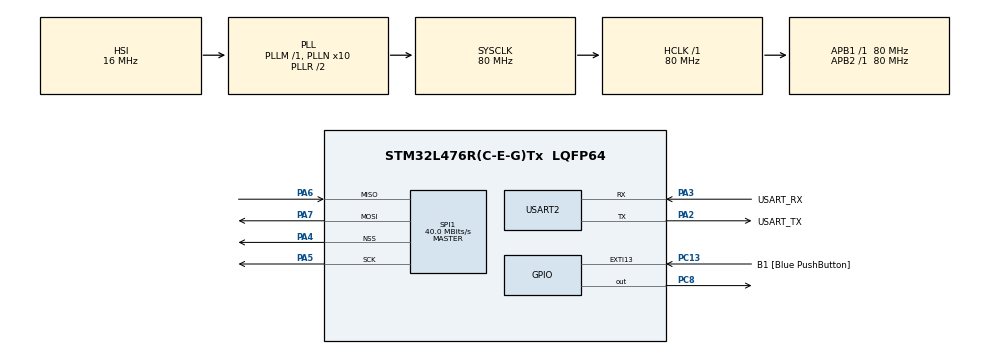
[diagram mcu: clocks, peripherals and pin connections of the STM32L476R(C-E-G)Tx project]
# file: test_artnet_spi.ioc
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Mcu.Family=STM32L4
Mcu.Name=STM32L476R(C-E-G)Tx
Mcu.Package=LQFP64
NVIC.PriorityGroup=NVIC_PRIORITYGROUP_4
PA13\ (JTMS-SWDIO).GPIO_Label=TMS
PA13\ (JTMS-SWDIO).Mode=Serial_Wire
PA13\ (JTMS-SWDIO).Signal=SYS_JTMS-SWDIO
PA14\ (JTCK-SWCLK).GPIO_Label=TCK
PA14\ (JTCK-SWCLK).Mode=Serial_Wire
PA14\ (JTCK-SWCLK).Signal=SYS_JTCK-SWCLK
PA2.GPIO_Label=USART_TX
PA2.GPIO_Mode=GPIO_MODE_AF_PP
PA2.GPIO_PuPd=GPIO_NOPULL
PA2.GPIO_Speed=GPIO_SPEED_FREQ_VERY_HIGH
PA2.Mode=Asynchronous
PA2.Signal=USART2_TX
PA3.GPIO_Label=USART_RX
PA3.GPIO_Mode=GPIO_MODE_AF_PP
PA3.GPIO_PuPd=GPIO_NOPULL
PA3.GPIO_Speed=GPIO_SPEED_FREQ_VERY_HIGH
PA3.Mode=Asynchronous
PA3.Signal=USART2_RX
PA4.Mode=NSS_Signal_Hard_Output
PA4.Signal=SPI1_NSS
PA5.Mode=Full_Duplex_Master
PA5.Signal=SPI1_SCK
PA6.Mode=Full_Duplex_Master
PA6.Signal=SPI1_MISO
PA7.Mode=Full_Duplex_Master
PA7.Signal=SPI1_MOSI
PB3\ (JTDO-TRACESWO).GPIO_Label=SWO
PB3\ (JTDO-TRACESWO).Signal=SYS_JTDO-SWO
PC13.GPIO_Label=B1 [Blue PushButton]
PC13.GPIO_ModeDefaultEXTI=GPIO_MODE_IT_FALLING
PC13.GPIO_PuPd=GPIO_NOPULL
PC13.Signal=GPXTI13
PC14-OSC32_IN\ (PC14).Mode=LSE-External-Oscillator
PC14-OSC32_IN\ (PC14).Signal=RCC_OSC32_IN
PC15-OSC32_OUT\ (PC15).Mode=LSE-External-Oscillator
PC15-OSC32_OUT\ (PC15).Signal=RCC_OSC32_OUT
PC8.Signal=GPIO_Output
PH0-OSC_IN\ (PH0).Signal=RCC_OSC_IN
PH1-OSC_OUT\ (PH1).Signal=RCC_OSC_OUT
ProjectManager.HeapSize=0x200
ProjectManager.StackSize=0x400
ProjectManager.TargetToolchain=STM32CubeIDE
RCC.ADCFreq_Value=64000000
RCC.AHBFreq_Value=80000000
RCC.APB1Freq_Value=80000000
RCC.APB1TimFreq_Value=80000000
RCC.APB2Freq_Value=80000000
RCC.APB2TimFreq_Value=80000000
RCC.CortexFreq_Value=80000000
RCC.HCLKFreq_Value=80000000
RCC.HSE_VALUE=8000000
RCC.HSI_VALUE=16000000
RCC.MSI_VALUE=4000000
RCC.PLLN=10
RCC.PLLSourceVirtual=RCC_PLLSOURCE_HSI
RCC.PREFETCH_ENABLE=1
RCC.SYSCLKFreq_VALUE=80000000
RCC.SYSCLKSource=RCC_SYSCLKSOURCE_PLLCLK
RCC.USBFreq_Value=64000000
RCC.VCOOutputFreq_Value=160000000
SPI1.CalculateBaudRate=40.0 MBits/s
SPI1.Direction=SPI_DIRECTION_2LINES
SPI1.Mode=SPI_MODE_MASTER
SPI1.VirtualNSS=VM_NSSHARD
SPI1.VirtualType=VM_MASTER
USART2.VirtualMode-Asynchronous=VM_ASYNC
board=NUCLEO-L476RG

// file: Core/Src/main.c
/* USER CODE BEGIN Header */
/**
 ******************************************************************************
 * @file           : main.c
 * @brief          : Main program body
 ******************************************************************************
 * @attention
 *
 * Copyright (c) 2025 STMicroelectronics.
 * All rights reserved.
 *
 * This software is licensed under terms that can be found in the LICENSE file
 * in the root directory of this software component.
 * If no LICENSE file comes with this software, it is provided AS-IS.
 *
 ******************************************************************************
 */
/* USER CODE END Header */
#include "main.h"
#include "spi.h"
#include "usart.h"
#include "gpio.h"

/* USER CODE BEGIN Includes */
#include "w5500/wizchip_conf.h"
#include "w5500/w5500_spi.h"
#include "w5500/w5500_phy.h"
#include "w5500/w5500_host_config.h"
#include "w5500/socket.h"
/* USER CODE END Includes */

/* USER CODE BEGIN PV */
wiz_NetInfo net_info = {
		.mac = {0x56, 0xC0, 0x70, 0xD2, 0x48, 0x10},  // Locally administered MAC address
		.ip = {192, 168, 56, 100},                    // IP address
		.sn = {255, 255, 255, 0},                     // Subnet mask
		.gw = {192, 168, 1, 1},                       // Gateway
		.dns = {8, 8, 8, 8},                          // DNS server
		.dhcp = NETINFO_STATIC                        // Use static IP
};

uint8_t spi_rx_buffer[10];
/* USER CODE END PV */

void SystemClock_Config(void);

/* USER CODE BEGIN 0 */
int __io_putchar(int chr)
{
	HAL_UART_Transmit(&huart2, (uint8_t *)&chr, 1, HAL_MAX_DELAY);

	return chr;
}

void Receive_SPI_Data() {
	//printf("---------- Receive_SPI_Data ----------\r\n");
	HAL_SPI_Receive(&hspi1, spi_rx_buffer, sizeof(spi_rx_buffer), HAL_MAX_DELAY);
	//for (int i = 0; i < 8; i++)
	//	wiz_recv_data(i, spi_rx_buffer, sizeof(spi_rx_buffer));
}

void HAL_SPI_RxCpltCallback(SPI_HandleTypeDef *hspi) {
	//printf("---------- HAL_SPI_RxCpltCallback ----------\r\n");
	if (hspi->Instance == SPI1)
	{
		if (spi_rx_buffer[0] != 0)
		{
			printf("SPI Data Received: %s\r\n", spi_rx_buffer);

		}
		Receive_SPI_Data();
	}
}

/* USER CODE END 0 */

int main(void)
{

	/* MCU Configuration--------------------------------------------------------*/

	/* Reset of all peripherals, Initializes the Flash interface and the Systick. */
	HAL_Init();

	/* USER CODE BEGIN Init */
	setbuf(stdout, NULL);
	/* USER CODE END Init */

	/* Configure the system clock */
	SystemClock_Config();

	/* Initialize all configured peripherals */
	MX_GPIO_Init();
	MX_USART2_UART_Init();
	MX_SPI1_Init();
	/* USER CODE BEGIN 2 */
	w5500_init();

	printf("---------- AVANT static_host_configuration ----------\r\n");
	static_host_configuration(&net_info);
	//dynamic_host_configuration(net_info.mac);
	printf("---------- APRES static_host_configuration ----------\r\n");

	wiz_NetInfo check;
	wizchip_getnetinfo(&check);
	printf("IP configuree : %d.%d.%d.%d\r\n", check.ip[0], check.ip[1], check.ip[2], check.ip[3]);

	printf("---------- AVANT check_cable_presence ----------\r\n");
	check_cable_presence();
	printf("---------- APRES check_cable_presence ----------\r\n");

	printf("---------- AVANT check_phy_status ----------\r\n");
	check_phy_status();
	printf("---------- APRES check_phy_status ----------\r\n");

	printf("---------- AVANT print_current_host_configuration ----------\r\n");
	print_current_host_configuration();
	printf("---------- APRES print_current_host_configuration ----------\r\n");
	/* USER CODE END 2 */

	/* Infinite loop */
	/* USER CODE BEGIN WHILE */
	while (1)
	{
		printf("----- WHILE -----\r\n");
		HAL_Delay(1000);
		/* USER CODE END WHILE */

	}
}

void SystemClock_Config(void)
{
	RCC_OscInitTypeDef RCC_OscInitStruct = {0};
	RCC_ClkInitTypeDef RCC_ClkInitStruct = {0};

	/** Configure the main internal regulator output voltage
	 */
	if (HAL_PWREx_ControlVoltageScaling(PWR_REGULATOR_VOLTAGE_SCALE1) != HAL_OK)
	{
		Error_Handler();
	}

	/** Initializes the RCC Oscillators according to the specified parameters
	 * in the RCC_OscInitTypeDef structure.
	 */
	RCC_OscInitStruct.OscillatorType = RCC_OSCILLATORTYPE_HSI;
	RCC_OscInitStruct.HSIState = RCC_HSI_ON;
	RCC_OscInitStruct.HSICalibrationValue = RCC_HSICALIBRATION_DEFAULT;
	RCC_OscInitStruct.PLL.PLLState = RCC_PLL_ON;
	RCC_OscInitStruct.PLL.PLLSource = RCC_PLLSOURCE_HSI;
	RCC_OscInitStruct.PLL.PLLM = 1;
	RCC_OscInitStruct.PLL.PLLN = 10;
	RCC_OscInitStruct.PLL.PLLP = RCC_PLLP_DIV7;
	RCC_OscInitStruct.PLL.PLLQ = RCC_PLLQ_DIV2;
	RCC_OscInitStruct.PLL.PLLR = RCC_PLLR_DIV2;
	if (HAL_RCC_OscConfig(&RCC_OscInitStruct) != HAL_OK)
	{
		Error_Handler();
	}

	/** Initializes the CPU, AHB and APB buses clocks
	 */
	RCC_ClkInitStruct.ClockType = RCC_CLOCKTYPE_HCLK|RCC_CLOCKTYPE_SYSCLK
			|RCC_CLOCKTYPE_PCLK1|RCC_CLOCKTYPE_PCLK2;
	RCC_ClkInitStruct.SYSCLKSource = RCC_SYSCLKSOURCE_PLLCLK;
	RCC_ClkInitStruct.AHBCLKDivider = RCC_SYSCLK_DIV1;
	RCC_ClkInitStruct.APB1CLKDivider = RCC_HCLK_DIV1;
	RCC_ClkInitStruct.APB2CLKDivider = RCC_HCLK_DIV1;

	if (HAL_RCC_ClockConfig(&RCC_ClkInitStruct, FLASH_LATENCY_4) != HAL_OK)
	{
		Error_Handler();
	}
}

void Error_Handler(void)
{
	__disable_irq();
	while (1)
	{
	}
}
